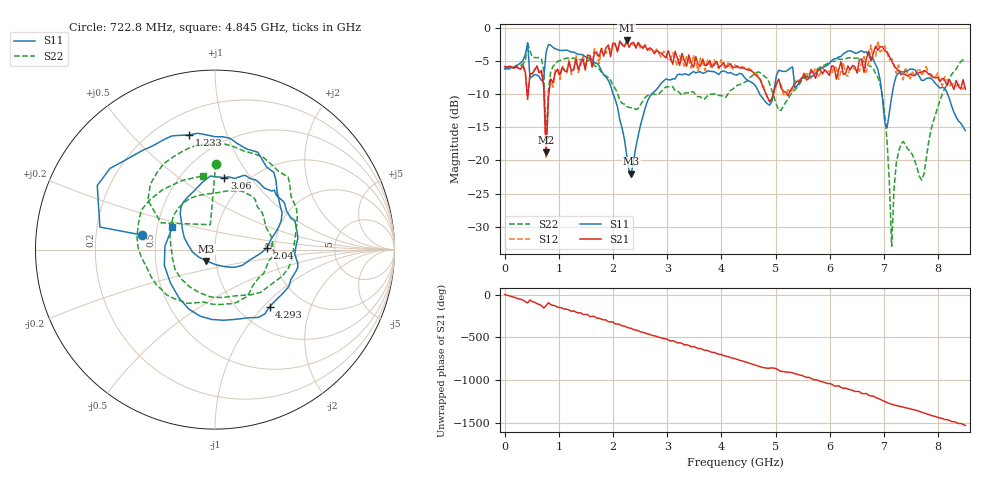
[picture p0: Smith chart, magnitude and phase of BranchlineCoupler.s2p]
! 2/13/2019 10:47:19 AM
! C:\USERS\RF LAB\DESKTOP\MKH3CF_MICROWAVE_LAB\BL1.S2P
! CHANNEL.1
! TR.MEASUREMENT
! CORRECTED.DATA
# GHZ S RI R 50.0
! FREQ.GHZ  S11RE  S11IM  S21RE  S21IM  S12RE  S12IM  S22RE  S22IM
!; PortSelection: Port_12
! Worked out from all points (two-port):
!   201 points, 300 kHz to 8.5 GHz, reference 50 ohm
!   highest |S21| = -1.91 dB at 2.253 GHz (marker M1); lowest = -18.8 dB at 765.3 MHz (marker M2)
!   |S21| within 3 dB of the highest: 1.634 GHz to 3.076 GHz (1.441 GHz wide, 61.2 % of centre); 6.761 GHz to 7.135 GHz (373.7 MHz wide, 5.38 % of centre)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
!   lowest |S11| = -22.0 dB at 2.338 GHz (marker M3), VSWR 1.17, Z = 45.1 - j5.76 ohm
!   |S11| at or under -10 dB: 2.002 GHz to 2.714 GHz (712.5 MHz wide, 30.2 % of centre); 4.707 GHz to 4.955 GHz (247.9 MHz wide, 5.13 % of centre); 8.172 GHz to end of sweep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
!   |S22| runs from -32.9 to -2.3 dB; largest |S21 - S12| = 0.21
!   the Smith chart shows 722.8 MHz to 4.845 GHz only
!   S11 on the Smith chart (normalised r, x): 722.8 MHz: 0.41, +0.08; 1.233 GHz: 0.33, +0.75; 2.04 GHz: 1.81, +0.03; 3.06 GHz: 0.79, +0.76; 4.293 GHz: 1.37, -1.09; 4.845 GHz: 0.60, +0.16
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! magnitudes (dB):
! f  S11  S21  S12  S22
! 300 kHz  -6.2  -5.9  -5.9  -6.2
! 722.8 MHz  -7.6  -9.1  -8.6  -6.4
! 765.3 MHz  -3.7  -18.8  -19.7  -17.0
! 850.3 MHz  -2.6  -7.7  -7.9  -6.7
! 1.233 GHz  -3.7  -6.5  -7.1  -4.6
! 1.445 GHz  -4.1  -4.7  -4.2  -4.7
! 2.04 GHz  -10.8  -2.4  -2.6  -9.2
! 2.253 GHz  -19.3  -1.9  -2.3  -11.9
! 2.338 GHz  -22.0  -2.3  -2.4  -12.1
! 2.848 GHz  -8.8  -3.7  -3.9  -10.0
! 3.06 GHz  -7.9  -4.6  -4.8  -8.8
! 4.293 GHz  -7.1  -5.8  -6.0  -8.7
! 4.845 GHz  -11.4  -10.4  -10.5  -7.6
! 5.1 GHz  -6.5  -9.1  -8.6  -12.4
! 5.695 GHz  -7.2  -6.8  -6.7  -6.6
! 6.8 GHz  -4.8  -3.9  -4.9  -6.1
! 6.97 GHz  -10.6  -2.9  -3.3  -10.2
! 7.098 GHz  -12.7  -4.3  -4.8  -23.3
! 7.14 GHz  -10.4  -5.0  -4.6  -32.9
! 7.31 GHz  -6.6  -7.0  -7.0  -17.6
! 7.693 GHz  -8.0  -6.7  -7.3  -23.0
! 8.5 GHz  -15.5  -9.3  -8.7  -4.6
